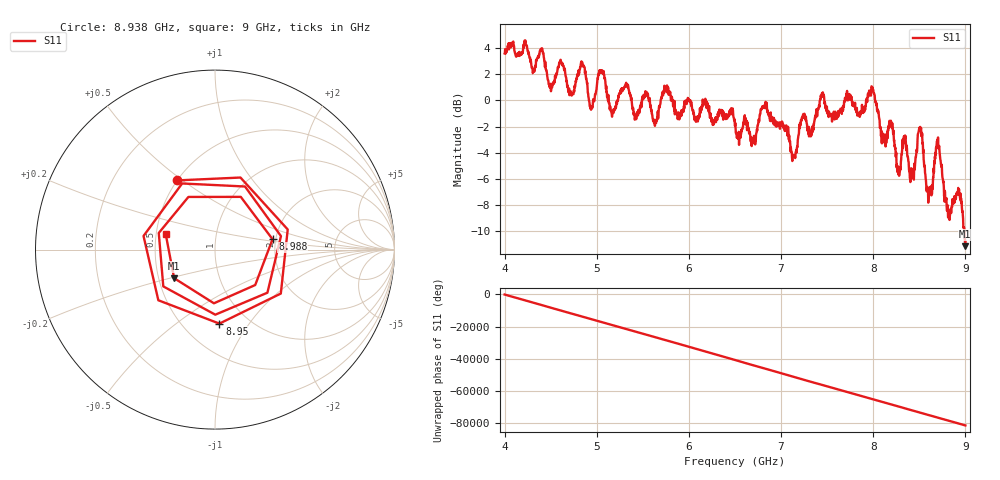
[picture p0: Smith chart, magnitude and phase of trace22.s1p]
! Created with skrf 1.8.0 (http://scikit-rf.org).
# Hz S RI R 50.0
!freq ReS11 ImS11
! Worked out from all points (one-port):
!   1601 points, 4 GHz to 9 GHz, reference 50 ohm
!   lowest |S11| = -11.1 dB at 8.997 GHz (marker M1), VSWR 1.77, Z = 30.1 - j10.4 ohm
!   |S11| at or under -10 dB: 8.989023 GHz to end of sweep
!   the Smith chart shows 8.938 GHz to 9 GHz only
!   S11 on the Smith chart (normalised r, x): 8.938 GHz: 0.50, +0.48; 8.95 GHz: 0.74, -0.74; 8.988 GHz: 1.92, +0.25; 9 GHz: 0.56, +0.11
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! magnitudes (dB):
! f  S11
! 4 GHz  3.6
! 4.625 GHz  2.7
! 4.728 GHz  0.4
! 4.85 GHz  2.7
! 4.934 GHz  -0.6
! 5.05 GHz  2.2
! 5.162 GHz  -1.0
! 5.25 GHz  0.6
! 5.875 GHz  -1.2
! 6.5 GHz  -2.0
! 6.703 GHz  -3.3
! 6.822 GHz  -0.5
! 7.125 GHz  -4.2
! 7.444 GHz  0.6
! 7.75 GHz  0.3
! 7.991 GHz  0.9
! 8.272 GHz  -5.6
! 8.375 GHz  -4.3
! 8.425 GHz  -5.5
! 8.506 GHz  -2.2
! 8.597 GHz  -7.8
! 8.7 GHz  -3.4
! 8.822 GHz  -8.6
! 8.938 GHz  -7.2
! 8.95 GHz  -7.7
! 8.988 GHz  -9.7
! 8.997 GHz  -11.1
! 9 GHz  -10.8
